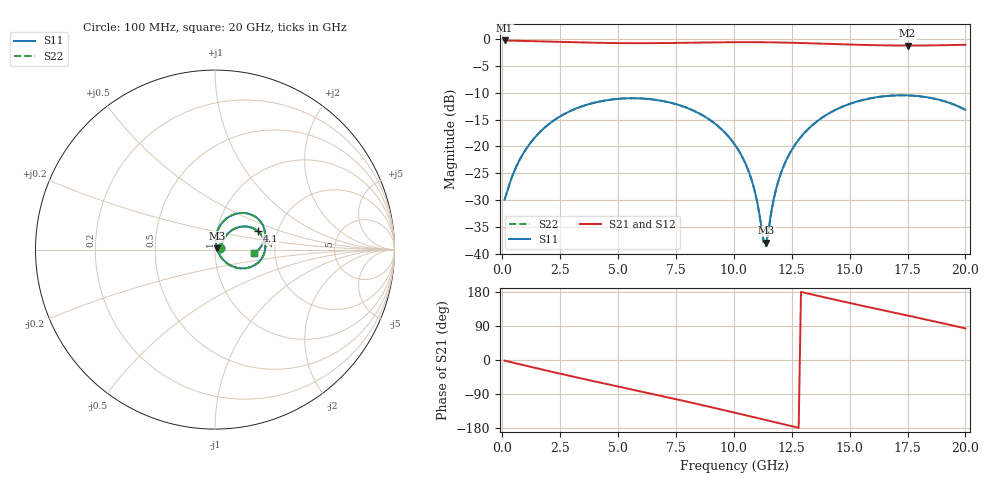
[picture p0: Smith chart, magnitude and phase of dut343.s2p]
! Touchstone file exported from HFSS 2026.1.0
!  File:  C:/ffzhzh/LocalFiles/Ansys_Project_Files/temp_train_TSV_RDL_343_1783035242_46388.aedt
!  Generated:  07:45:54 AM Jul  3, 2026
!  Design:  TSV_RDL
!  Project:  temp_train_TSV_RDL_343_1783035242_46388
! Variables:
!  h_bsmrdl = 4.78um
!  h_ox = 20um
!  h_rdl = 5um
!  h_sub = 61.13um
!  h_tmrdl = 2.6um
!  h_tsv = 61.13um
!  h_via = 3um
!  l_bsmrdl = 637.32um
!  l_sub = 4681.49um
!  l_tmrdl = 565.21um
!  m_sub = 200um
!  pitch = 28.36um
!  r_tsv = 6.7um
!  s_tmrdl = 10um
!  w_bsmrdl = 22.53um
!  w_sub = 500um
!  w_tmrdl = 13.7um
!  x_tsv_center1 = 572.06um
!  x_tsv_center2 = 1231.91um
!  x_tsv_center3 = 1810.82um
!  x_tsv_center4 = 2470.67um
!  x_tsv_center5 = 3049.58um
!  x_tsv_center6 = 3709.43um
# GHz S MA R 50.000000
! Terminal data exported
! Port[1] = TM_RDL1_1_T1
! Port[2] = TM_RDL5_1_T1
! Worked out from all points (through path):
!   200 points, 100 MHz to 20 GHz, reference 50 ohm
!   highest |S21| = -0.27 dB at 100 MHz (marker M1); lowest = -1.2 dB at 17.5 GHz (marker M2)
!   group delay of S21, straight-line fit = 38.4 ps
!   lowest |S11| = -38.0 dB at 11.4 GHz (marker M3), VSWR 1.03, Z = 51.1 + j0.72 ohm
!   |S11| at or under -10 dB: start of sweep to end of sweep
!   |S22| runs from -38.6 to -10.5 dB; largest |S21 - S12| = 1.8e-14
!   S11 on the Smith chart (normalised r, x): 100 MHz: 1.06, +0.02; 4.1 GHz: 1.57, +0.35; 20 GHz: 1.56, -0.06
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0.1  0.03183 17.6  0.9699 -1.6  0.9699 -1.6  0.03183 17.6
! Gamma 0 0 0 0
! Port Impedance 50 0 50 0
0.6  0.06446 47.3  0.9629 -9.0  0.9629 -9.0  0.06446 47.3
1.4  0.1206 50.9  0.9546 -20.6  0.9546 -20.6  0.1206 50.8
2.3  0.1789 43.9  0.9436 -33.3  0.9436 -33.3  0.1789 43.9
3.5  0.2385 30.7  0.9289 -49.9  0.9289 -49.9  0.2385 30.7
4.1  0.259 23.7  0.9229 -58.0  0.9229 -58.0  0.259 23.6
5.5  0.2808 6.8  0.915 -76.6  0.915 -76.6  0.2808 6.7
6.8  0.2677 -9.2  0.9164 -93.9  0.9164 -93.9  0.2678 -9.3
8.7  0.192 -32.9  0.928 -120.0  0.928 -120.0  0.1921 -33.1
10.1  0.09956 -48.6  0.9349 -139.9  0.9349 -139.9  0.09962 -49.1
10.8  0.04621 -50.2  0.9352 -150.0  0.9352 -150.0  0.04614 -51.3
11  0.03102 -45.2  0.9347 -152.9  0.9347 -152.9  0.03084 -46.9
11.3  0.0128 -1.9  0.9335 -157.3  0.9335 -157.3  0.01203 -4.1
11.4  0.01265 33.9  0.933 -158.7  0.933 -158.7  0.01176 34.4
11.7  0.03066 79.0  0.9311 -163.1  0.9311 -163.1  0.03018 80.4
12.1  0.06159 85.3  0.9277 -168.9  0.9277 -168.9  0.06128 86.0
12.7  0.1079 81.9  0.9211 -177.5  0.9211 -177.5  0.1076 82.3
13.4  0.1582 74.4  0.9116 172.5  0.9116 172.5  0.158 74.7
14.9  0.2443 56.2  0.8896 151.8  0.8896 151.8  0.2441 56.4
16.7  0.2959 34.2  0.8718 127.9  0.8718 127.9  0.2958 34.3
17.5  0.2985 24.6  0.8696 117.3  0.8696 117.3  0.2984 24.6
20  0.2189 -5.2  0.8842 83.4  0.8842 83.4  0.2189 -5.2
